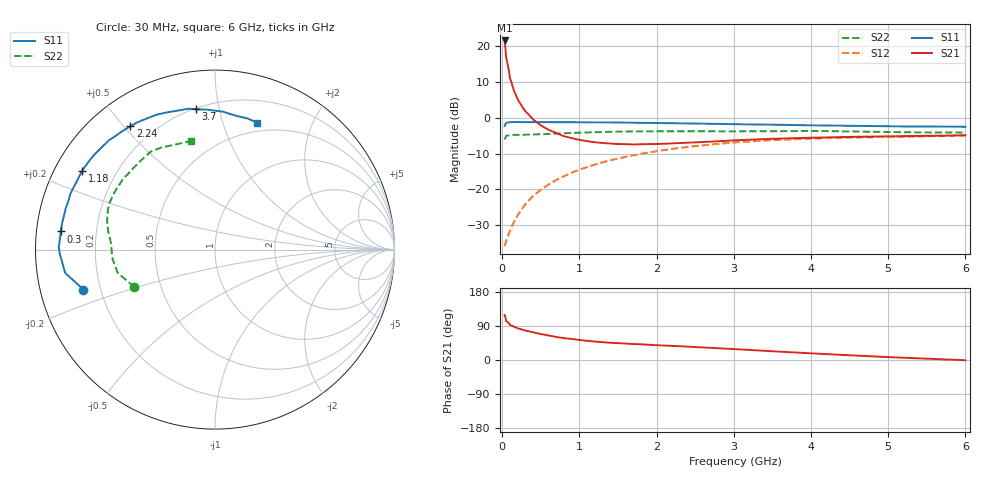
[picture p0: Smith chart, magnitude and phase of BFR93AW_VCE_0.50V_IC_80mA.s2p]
! Infineon Technologies  Discrete & RF Semiconductors
! BFR93AW
! VCE = 0.50 V,  IC =  80 mA
! Common Emitter S-Parameters:  Nov 2015
# GHz  S  MA  R  50
!  f  S11  S21  S12  S22
! GHz  MAG  ANG  MAG  ANG  MAG  ANG  MAG  ANG
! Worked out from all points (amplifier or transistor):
!   206 points, 30 MHz to 6 GHz, reference 50 ohm
!   highest |S21| = 21.5 dB at 30 MHz (marker M1)
!   |S21| within 3 dB of that: start of sweep to 43.46 MHz
!   unconditionally stable (mu >= 1): start of sweep to end of sweep
!   at 200 MHz: K = 1.53, MAG = 11.8 dB, |S12| = -27.2 dB
!   at 1.56 GHz: K = 1.26, MAG = -1.2 dB, |S12| = -11.1 dB
!   at 6 GHz: K = 1.05, MAG = -1.3 dB, |S12| = -5.0 dB
!   S11 on the Smith chart (normalised r, x): 30 MHz: 0.14, -0.15; 300 MHz: 0.07, +0.06; 1.18 GHz: 0.08, +0.27; 2.24 GHz: 0.12, +0.52; 3.7 GHz: 0.21, +0.85; 6 GHz: 0.41, +1.30
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0.03  0.7663 -163.1  11.87 118.9  0.0162 42.4  0.4952 -155.3
0.05  0.8452 -171.2  6.863 102.6  0.0192 43.4  0.5572 -166.5
0.075  0.853 -174.7  5.172 99.1  0.0228 49.5  0.5636 -170.5
0.1  0.8639 -178.0  3.519 92.2  0.0266 53.9  0.5726 -174.3
0.15  0.8704 179.2  2.366 87.6  0.035 60.6  0.5751 -177.1
0.2  0.8668 176.7  1.797 83.6  0.0437 64.7  0.5756 -179.2
0.26  0.8651 174.4  1.403 80.1  0.0547 67.5  0.577 179.3
0.3  0.866 173.3  1.222 77.7  0.0621 68.5  0.5784 178.5
0.4  0.8641 169.9  0.94 72.8  0.0809 70.0  0.5811 176.3
0.5  0.8618 167.1  0.778 68.4  0.0987 70.1  0.5866 174.6
0.6  0.8631 164.7  0.675 64.7  0.1169 69.5  0.5919 173.2
0.8  0.8636 158.8  0.55 57.8  0.1529 67.4  0.6057 169.9
1.04  0.859 152.6  0.481 51.8  0.1952 64.1  0.6179 166.2
1.18  0.8601 149.2  0.456 49.2  0.2185 62.1  0.6247 164.1
1.6  0.8517 138.6  0.427 43.3  0.2852 55.1  0.6395 156.9
2.02  0.839 129.2  0.429 38.8  0.3427 48.5  0.6446 151.1
2.24  0.8338 124.5  0.441 36.9  0.3718 45.0  0.645 147.5
3.1  0.8064 107.7  0.487 27.7  0.4571 31.9  0.643 135.2
3.7  0.7897 97.7  0.514 20.8  0.4951 23.5  0.6473 127.2
4.1  0.7777 91.9  0.527 16.5  0.5131 18.4  0.65 122.1
5.1  0.7539 80.1  0.552 6.8  0.5397 8.4  0.6268 111.5
6  0.7455 71.6  0.567 -0.6  0.5633 0.8  0.6198 102.7
